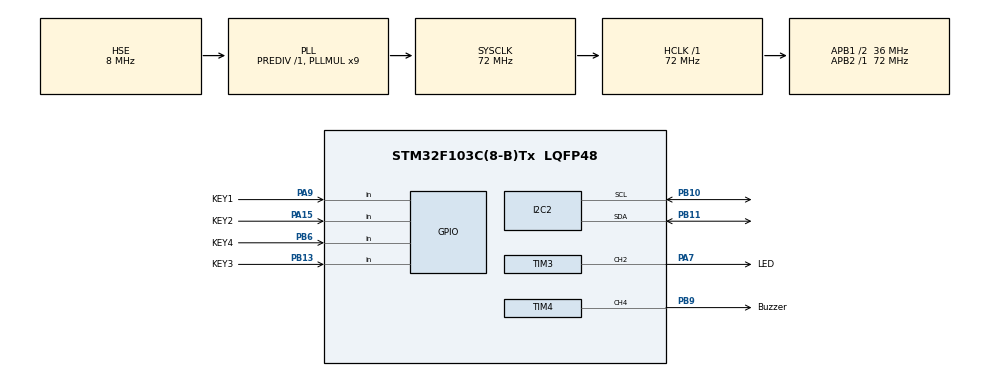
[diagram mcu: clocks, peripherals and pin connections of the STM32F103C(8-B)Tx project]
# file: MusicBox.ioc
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Mcu.Family=STM32F1
Mcu.Name=STM32F103C(8-B)Tx
Mcu.Package=LQFP48
NVIC.PriorityGroup=NVIC_PRIORITYGROUP_4
NVIC.RTC_Alarm_IRQn=true\:0\:0\:false\:false\:true\:true\:true\:true
PA13.Mode=Serial_Wire
PA13.Signal=SYS_JTMS-SWDIO
PA14.Mode=Serial_Wire
PA14.Signal=SYS_JTCK-SWCLK
PA15.GPIO_Label=KEY2
PA15.GPIO_PuPd=GPIO_PULLUP
PA15.Signal=GPIO_Input
PA7.GPIO_Label=LED
PA7.GPIO_Speed=GPIO_SPEED_FREQ_MEDIUM
PA7.Signal=S_TIM3_CH2
PA9.GPIO_Label=KEY1
PA9.GPIO_PuPd=GPIO_PULLUP
PA9.Signal=GPIO_Input
PB10.Mode=I2C
PB10.Signal=I2C2_SCL
PB11.Mode=I2C
PB11.Signal=I2C2_SDA
PB13.GPIO_Label=KEY3
PB13.GPIO_PuPd=GPIO_PULLUP
PB13.Signal=GPIO_Input
PB6.GPIO_Label=KEY4
PB6.GPIO_PuPd=GPIO_PULLUP
PB6.Signal=GPIO_Input
PB9.GPIO_Label=Buzzer
PB9.GPIO_Speed=GPIO_SPEED_FREQ_MEDIUM
PB9.Signal=S_TIM4_CH4
PD0-OSC_IN.Mode=HSE-External-Oscillator
PD0-OSC_IN.Signal=RCC_OSC_IN
PD1-OSC_OUT.Mode=HSE-External-Oscillator
PD1-OSC_OUT.Signal=RCC_OSC_OUT
ProjectManager.HeapSize=0x200
ProjectManager.StackSize=0x400
ProjectManager.TargetToolchain=STM32CubeIDE
RCC.AHBFreq_Value=72000000
RCC.APB1CLKDivider=RCC_HCLK_DIV2
RCC.APB1Freq_Value=36000000
RCC.APB1TimFreq_Value=72000000
RCC.APB2Freq_Value=72000000
RCC.APB2TimFreq_Value=72000000
RCC.HCLKFreq_Value=72000000
RCC.PLLMUL=RCC_PLL_MUL9
RCC.PLLSourceVirtual=RCC_PLLSOURCE_HSE
RCC.SYSCLKFreq_VALUE=72000000
RCC.SYSCLKSource=RCC_SYSCLKSOURCE_PLLCLK
RCC.USBFreq_Value=72000000
SH.S_TIM3_CH2.0=TIM3_CH2,PWM Generation2 CH2
SH.S_TIM4_CH4.0=TIM4_CH4,PWM Generation4 CH4
TIM3.Channel-PWM\ Generation2\ CH2=TIM_CHANNEL_2
TIM3.Period=100-1
TIM3.Prescaler=7200-1
TIM4.Channel-PWM\ Generation4\ CH4=TIM_CHANNEL_4
TIM4.Prescaler=72-1
VP_RTC_VS_RTC_Activate.Mode=RTC_Enabled
VP_TIM3_VS_ClockSourceINT.Mode=Internal
VP_TIM4_VS_ClockSourceINT.Mode=Internal
board=custom

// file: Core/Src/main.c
/* USER CODE BEGIN Header */
/**
  ******************************************************************************
  * @file           : main.c
  * @brief          : Main program body
  ******************************************************************************
  * @attention
  *
  * Copyright (c) 2025 STMicroelectronics.
  * All rights reserved.
  *
  * This software is licensed under terms that can be found in the LICENSE file
  * in the root directory of this software component.
  * If no LICENSE file comes with this software, it is provided AS-IS.
  *
  ******************************************************************************
  */
/* USER CODE END Header */
#include "main.h"
#include "i2c.h"
#include "rtc.h"
#include "tim.h"
#include "gpio.h"

/* USER CODE BEGIN Includes */
#include"stdint.h"
#include "song.h"
#include "font.h"
#include "gpio.h"
#include "i2c.h"
#include "tim.h"
#include "oled.h"
#include "multi_button.h"
#include <stdio.h>
/* USER CODE END Includes */

/* USER CODE BEGIN PV */
typedef enum { STOPPED,PLAYING,PAUSED,MACHINE_STOP} State;
typedef enum {Null_Song, Start_Music, Haruhikage, Blossom, Cheerleader } SongList;
typedef enum { Menu1, Menu2,Volume_Control_Menu, Song_Display_Menu } MenuState;

static Button KEY1;
static Button KEY2;
static Button KEY3;
static Button KEY4;

volatile State PlayerState = STOPPED;
volatile MenuState CurrentMenu;
volatile SongList Selected_Song=Null_Song;
/* USER CODE END PV */

void SystemClock_Config(void);

/* USER CODE BEGIN 0 */

//声明变量
Song *Current_Song_Sheet;			  // 当前播放的歌曲铺
volatile uint32_t Current_Song_Time_Length;	// 当前播放的歌曲时间长度
volatile uint32_t Current_Song_Note_Num;// 当前播放的歌曲的音符数量
volatile uint32_t currentNote=0;   // 当前播放的音符
volatile uint32_t elapsedTime=0;    // 当前音符已经播放的时间
volatile uint32_t current_Play_Time = 0;//当前歌曲播放时间
volatile uint16_t is_Doubled_Playing = 0;//是否快速播放
volatile uint16_t Volume=50;//音量大小
volatile uint16_t is_Move_First_Cursor=0, is_Move_Second_Cursor=0;//是否移动一级光标
volatile uint16_t is_Enter_Secondary_Menu=0,is_Leave_Secondary_Menu=0;//是否进入二级菜单
volatile uint16_t is_Enter_Song=0,is_Leave_Song=0;//是否进入/离开歌曲
volatile uint16_t is_next10s_Playing=0,is_previous10s_Playing=0;//是否快进
volatile uint16_t First_Cursor_Position=7,Second_Cursor_Position=7;

//声明函数
void Player_Start(Song *sheet, uint32_t length, int note_num);
void Player_Pause(void);
void Player_Resume(void);
void Player_Stop(void);
void Player_Update(void);
uint32_t Get_Song_Time_Length(Song sheet[],int note_num);
void HAL_GPIO_EXTI_Callback(uint16_t GPIO_Pin);
//uint8_t read_button_gpio(uint8_t button_id);
void Machine_Start();
void First_Menu();
void Second_Menu();
void Volume_Control();
void Song_Display();

// 播放指定歌曲
void Player_Start(Song *sheet, uint32_t length, int note_num) {
  Current_Song_Sheet = sheet;
  Current_Song_Time_Length = length;
  Current_Song_Note_Num = note_num;
  currentNote = 0;
  elapsedTime = 0;
  current_Play_Time = 0;
  PlayerState = PLAYING;
  return;
}

// 暂停
void Player_Pause(void) {
    PlayerState = PAUSED;
    __HAL_TIM_SET_COMPARE(&htim4, TIM_CHANNEL_4, 0); // 静音
}

// 继续
void Player_Resume(void) {
  if (PlayerState == PAUSED) {
    PlayerState = PLAYING;
  }
}

// 停止
void Player_Stop(void) {
  PlayerState = STOPPED;
  currentNote = 0;
  elapsedTime = 0;
  current_Play_Time = 0;
  __HAL_TIM_SET_COMPARE(&htim4, TIM_CHANNEL_4, 0); // 静音
}

void Set_BPM_Time(int BPM){
	note_time[_1_16]=125*120/BPM;
	note_time[_1_8]=2*note_time[_1_16];
	note_time[_1_4]=2*note_time[_1_8];
	note_time[_1_2]=2*note_time[_1_4];
	note_time[_1_1]=2*note_time[_1_2];
	return;
}

// SysTick 每 1ms 调用一次
void Player_Update(void) {
  if (Current_Song_Sheet == NULL||Selected_Song ==Null_Song) return;

  Song current = Current_Song_Sheet[currentNote];
  uint32_t note_Duration = note_time[current.note_len];

	// 播放音符
	if(current.note_pitch == Rest||PlayerState==PAUSED||PlayerState==STOPPED){
		__HAL_TIM_SET_COMPARE(&htim4, TIM_CHANNEL_4, 0);
	}else{
		__HAL_TIM_SET_AUTORELOAD(&htim4,1000000/note_freqs[current.note_pitch]-1); // 重装载值

		if(0<=elapsedTime&&elapsedTime<100)	__HAL_TIM_SET_COMPARE(&htim4, TIM_CHANNEL_4, (int)1000000 / note_freqs[current.note_pitch]*Volume/5/100); // 占空比
		if(100<=elapsedTime&&elapsedTime<150) __HAL_TIM_SET_COMPARE(&htim4, TIM_CHANNEL_4, (int)5*Volume/100); // 占空比
		if(150<=elapsedTime&&elapsedTime<200) __HAL_TIM_SET_COMPARE(&htim4, TIM_CHANNEL_4, (int)3*Volume/100);
		if(200<=elapsedTime&&elapsedTime<250) __HAL_TIM_SET_COMPARE(&htim4, TIM_CHANNEL_4, (int)1*Volume/100);
		if(elapsedTime>=250) __HAL_TIM_SET_COMPARE(&htim4, TIM_CHANNEL_4, 0);
	}

//倍速播放
  if(is_Doubled_Playing==1 && 0 <= current_Play_Time && current_Play_Time < Current_Song_Time_Length && PlayerState==PLAYING){
    elapsedTime+=2;
    current_Play_Time+=2;
  }else if(is_Doubled_Playing==0 && 0<=current_Play_Time && current_Play_Time < Current_Song_Time_Length && PlayerState==PLAYING){
    elapsedTime+=1;
    current_Play_Time+=1;
  }

  // 快进功能
  //快进 10 秒
  if (is_next10s_Playing == 1) {
      is_next10s_Playing = 0; // 恢复标志

      int tmp_Skip_Note = 0;
      int total_Skip_Note_Time = 0;

      while (1) {
          if (total_Skip_Note_Time < 10000) {
              if (tmp_Skip_Note == 0) {
                  total_Skip_Note_Time += note_Duration - elapsedTime;  // 当前音符剩余时间
              } else {
                  // 若快进越界到结尾，直接到末尾退出
                  if (currentNote + tmp_Skip_Note >= Current_Song_Note_Num||current_Play_Time+total_Skip_Note_Time>=Current_Song_Time_Length) {
                      currentNote = Current_Song_Note_Num - 1;
                      current_Play_Time = Current_Song_Time_Length;
                      elapsedTime = note_Duration;
                      break;
                  } else {
                      total_Skip_Note_Time += note_time[Current_Song_Sheet[currentNote + tmp_Skip_Note].note_len];
                  }
              }
              tmp_Skip_Note++;
          } else {
              // 计算快进到的新位置
              currentNote += tmp_Skip_Note - 1;
              elapsedTime = note_time[Current_Song_Sheet[currentNote].note_len] - (total_Skip_Note_Time - 10000);
              if (Current_Song_Time_Length-current_Play_Time > 10000)
            	  current_Play_Time += 10000;
              else
            	  current_Play_Time = Current_Song_Time_Length;
              break;
          }
      }
  }

  // ==================== 后退 10 秒 ====================
  if (is_previous10s_Playing == 1) {
      is_previous10s_Playing = 0; // 恢复标志

      int tmp_Skip_Note = 0;
      int total_Skip_Note_Time = 0;

      while (1) {
          if (total_Skip_Note_Time < 10000) {
              if (tmp_Skip_Note == 0) {
                  total_Skip_Note_Time += elapsedTime;  // 当前音符已播放部分
              } else {
                  // 若后退越界到开头，直接回到第一个音符
                  if (currentNote - tmp_Skip_Note < 0||(int)current_Play_Time-total_Skip_Note_Time<=0) {
                      currentNote = 0;
                      elapsedTime = 0;
                      current_Play_Time = 0;
                      break;
                  } else {
                      total_Skip_Note_Time += note_time[Current_Song_Sheet[currentNote - tmp_Skip_Note].note_len];
                  }
              }
              tmp_Skip_Note++;
          } else {
              // 计算后退到的新位置
              currentNote -=(tmp_Skip_Note - 1);
              elapsedTime =total_Skip_Note_Time - 10000;
              if (current_Play_Time > 10000)
                  current_Play_Time -= 10000;
              else
                  current_Play_Time = 0;
              break;
          }
      }
  }

  // 音符播放完毕，切换到下一个音符
  if (elapsedTime >= note_Duration) {
	elapsedTime = 0;
	currentNote++;
  }

  //歌曲播放结束,重新开始
  if (currentNote >= Current_Song_Note_Num&&Selected_Song!=Start_Music) {
	  elapsedTime =0;
	  currentNote=0;
	  current_Play_Time=0;
      return;
    }
  if (currentNote >= Current_Song_Note_Num&&Selected_Song==Start_Music) {
  	  Player_Stop();
  	  return;
  }
}

//获取歌曲时长
uint32_t Get_Song_Time_Length(Song sheet[],int note_num){

	int Total_Song_Time_Length=0;

	for(int i=0;i<note_num;i++){
		Total_Song_Time_Length+=note_time[sheet[i].note_len];
	}
	return Total_Song_Time_Length;
}

//按键功能
void KEY1_single_click_handler(){

  if(CurrentMenu==Song_Display_Menu){
      if(PlayerState==PLAYING){
        Player_Pause();
      }else if(PlayerState==PAUSED){
        Player_Resume();
      }
    }
}

void KEY1_double_click_handler(){
  if(CurrentMenu==Song_Display_Menu){
      Player_Start(Current_Song_Sheet, Current_Song_Time_Length, Current_Song_Note_Num);
    }

}
void KEY1_long_press_Start_handler(){
	if(Selected_Song==Haruhikage&&CurrentMenu==Song_Display_Menu){
		Selected_Song=Blossom;
		Set_BPM_Time(Blossom_BPM);
		Player_Start((Song*)Blossom_Sheet, Get_Song_Time_Length(Blossom_Sheet,Blossom_Note_Num),Blossom_Note_Num);
	}
	if(Selected_Song==Blossom&&CurrentMenu==Song_Display_Menu){
		Selected_Song=Cheerleader;
		Set_BPM_Time(Cheerleader_BPM);
	    Player_Start((Song*)Cheerleader_Sheet, Get_Song_Time_Length(Cheerleader_Sheet,Cheerleader_Note_Num),Cheerleader_Note_Num);
	}
	if(Selected_Song==Cheerleader&&CurrentMenu==Song_Display_Menu){
	    Selected_Song=Haruhikage;
	    Set_BPM_Time(Haruhikage_BPM);
		Player_Start((Song*)Haruhikage_Sheet, Get_Song_Time_Length(Haruhikage_Sheet,Haruhikage_Note_Num),Haruhikage_Note_Num);
	}

}
void KEY2_single_click_handler(){
	if(CurrentMenu==Song_Display_Menu){
		is_previous10s_Playing=1;

	}
	if(CurrentMenu==Volume_Control_Menu){
		if(Volume-10>=0) Volume-=10;
		if(Volume-10<0) Volume=0;
	}
}

void KEY2_double_click_handler(){
	if(CurrentMenu==Song_Display_Menu||CurrentMenu==Volume_Control_Menu){
	    if(Volume-10>=0) Volume-=10;
	    if(Volume-10<0) Volume=0;
	  }
}

void KEY2_long_press_start_handler(){

}

void KEY3_single_click_handler(){
	if(CurrentMenu==Song_Display_Menu){
	    is_next10s_Playing=1;
	}
	if(CurrentMenu==Volume_Control_Menu){
		if(Volume+10<=100) Volume+=10;
		if(Volume+10>100) Volume=100;
	}
}

void KEY3_double_click_handler(){
	if(CurrentMenu==Song_Display_Menu||CurrentMenu==Volume_Control_Menu){
	    if(Volume+10<=100) Volume+=10;
	    if(Volume+10>100) Volume=100;
	}
}

void KEY3_long_press_hold_handler(){
  if(CurrentMenu==Song_Display_Menu){
    is_Doubled_Playing=1;
  }
}

void KEY3_release_handler() {
	if (CurrentMenu == Song_Display_Menu) {
	   if(is_Doubled_Playing ==1) is_Doubled_Playing = 0;  // 松开 -> 恢复正常播放
    }
}

void KEY4_single_click_handler(){
	if(CurrentMenu==Menu1){
		  if(First_Cursor_Position>=27){
		  	 First_Cursor_Position=7;
		  }else{
			  First_Cursor_Position+=20;
		  }
	  }
	  if(CurrentMenu==Menu2){
		  if(Second_Cursor_Position>=47){
			  Second_Cursor_Position=7;
		  }else{
		      Second_Cursor_Position+=20;
		  }
	  }

}
void KEY4_double_click_handler(){
	if(CurrentMenu==Menu2||CurrentMenu==Volume_Control_Menu){
		is_Leave_Secondary_Menu=1;
	}
	if(CurrentMenu==Song_Display_Menu){
		is_Leave_Song=1;
	}
}

void KEY4_long_press_start_handler(){
	if(CurrentMenu==Menu1){
		is_Enter_Secondary_Menu=1;
	}
	if(CurrentMenu==Menu2){
		is_Enter_Song=1;
	}
}

uint8_t read_button_gpio(uint8_t button_id)
{
    switch (button_id) {
        case 1:
            return HAL_GPIO_ReadPin(KEY1_GPIO_Port, KEY1_Pin);
        case 2:
        	return HAL_GPIO_ReadPin(KEY2_GPIO_Port, KEY2_Pin);
        case 3:
            return HAL_GPIO_ReadPin(KEY3_GPIO_Port, KEY3_Pin);
        case 4:
            return HAL_GPIO_ReadPin(KEY4_GPIO_Port, KEY4_Pin);
        default:
            return 0;
    }
}

void Machine_Start(){
  //呼吸灯
  for(int i=0;i<50;i++){
    __HAL_TIM_SET_COMPARE(&htim3,TIM_CHANNEL_2,i);
    HAL_Delay(10);
  }
  for(int i=49;i>=0;i--)	{
    __HAL_TIM_SET_COMPARE(&htim3,TIM_CHANNEL_2,i);
    HAL_Delay(10);
  }
  for(int i=0;i<50;i++){
    __HAL_TIM_SET_COMPARE(&htim3,TIM_CHANNEL_2,i);
    HAL_Delay(10);
  }
  for(int i=49;i>=0;i--){
    __HAL_TIM_SET_COMPARE(&htim3,TIM_CHANNEL_2,i);
    HAL_Delay(10);
  }
  for(int i=0;i<50;i++){
    __HAL_TIM_SET_COMPARE(&htim3,TIM_CHANNEL_2,i);
    HAL_Delay(10);
  }
  for(int i=49;i>=0;i--){
    __HAL_TIM_SET_COMPARE(&htim3,TIM_CHANNEL_2,i);
    HAL_Delay(10);
  }

  //播放开场音乐
  Selected_Song=Start_Music;
  Set_BPM_Time(Start_Music_BPM);
  Player_Start((Song*)Start_Music_Sheet, Get_Song_Time_Length(Start_Music_Sheet,Start_Music_Note_Num), Start_Music_Note_Num);
  //开场动画
  for(int i=0;i<40;i++){
	  OLED_NewFrame();
      OLED_DrawCircle(64,32,i,OLED_COLOR_NORMAL);
      OLED_DrawCircle(64,32,i*3,OLED_COLOR_NORMAL);
      OLED_DrawImage(43,-30+i,&UESTCImg,OLED_COLOR_NORMAL);
      OLED_PrintString(64-1*i,42,"Welcome!",&font16x16,OLED_COLOR_NORMAL);
      OLED_ShowFrame();
      HAL_Delay(70);
  }
  CurrentMenu=Menu1;
  return;
 }

//一级菜单
void First_Menu(){

	  OLED_NewFrame();
    //绘制LIST
	  OLED_DrawFilledRectangle(0,0,60,15,0);
	  OLED_PrintString(3,0,"LIST",&font13x13,1);
    //绘制CONTROL
	  OLED_DrawFilledRectangle(0,20,60,15,0);
	  OLED_PrintString(3,20,"CONTROL",&font15x15,1);
    //绘制光标
	  OLED_DrawLine(115,First_Cursor_Position,120,First_Cursor_Position,0);
	  OLED_DrawLine(115,First_Cursor_Position+1,120,First_Cursor_Position+1,0);
	  OLED_DrawLine(115,First_Cursor_Position+2,120,First_Cursor_Position+2,0);

	  OLED_ShowFrame();

    if(is_Enter_Secondary_Menu==1&&First_Cursor_Position==7){
      CurrentMenu=Menu2;
      Second_Cursor_Position=7;
      is_Enter_Secondary_Menu=0;
	}

    if(is_Enter_Secondary_Menu==1&&First_Cursor_Position==27){
          CurrentMenu=Volume_Control_Menu;
          is_Enter_Secondary_Menu=0;
    }

    return;
}

//二级菜单
void Second_Menu(){

    OLED_NewFrame();
    //第一首歌
    OLED_DrawFilledRectangle(0,0,80,15,0);
    OLED_PrintString(3,0,"1 Haruhikage",&font13x13,1);
    //第二首歌
    OLED_DrawFilledRectangle(0,20,80,15,0);
    OLED_PrintString(3,20,"2 Blossom",&font13x13,1);
    //第三首歌
    OLED_DrawFilledRectangle(0,40,80,15,0);
    OLED_PrintString(3,40,"3 Cheerleader",&font13x13,1);
    //绘制光标
    OLED_DrawLine(115,Second_Cursor_Position,120,Second_Cursor_Position,0);
    OLED_DrawLine(115,Second_Cursor_Position+1,120,Second_Cursor_Position+1,0);
    OLED_DrawLine(115,Second_Cursor_Position+2,120,Second_Cursor_Position+2,0);

   	OLED_ShowFrame();
    //进入歌曲播放界面
    if(is_Enter_Song==1&&Second_Cursor_Position==7){
      CurrentMenu=Song_Display_Menu;
      Selected_Song=Haruhikage;
      Set_BPM_Time(Haruhikage_BPM);
      Player_Start((Song*)Haruhikage_Sheet, Get_Song_Time_Length(Haruhikage_Sheet,Haruhikage_Note_Num),Haruhikage_Note_Num);
      is_Enter_Song=0;
    }
    if(is_Enter_Song==1&&Second_Cursor_Position==27){
      CurrentMenu=Song_Display_Menu;
      Selected_Song=Blossom;
      Set_BPM_Time(Blossom_BPM);
      Player_Start((Song*)Blossom_Sheet, Get_Song_Time_Length(Blossom_Sheet,Blossom_Note_Num),Blossom_Note_Num);
      is_Enter_Song=0;
    }
    if(is_Enter_Song==1&&Second_Cursor_Position==47){
      CurrentMenu=Song_Display_Menu;
      Selected_Song=Cheerleader;
      Set_BPM_Time(Cheerleader_BPM);
      Player_Start((Song*)Cheerleader_Sheet, Get_Song_Time_Length(Cheerleader_Sheet,Cheerleader_Note_Num),Cheerleader_Note_Num);
      is_Enter_Song=0;
    }
    //返回一级菜单(长按KEY1)
    if(is_Leave_Secondary_Menu==1){
      HAL_Delay(50);
      CurrentMenu=Menu1;
      is_Leave_Secondary_Menu=0;
    }
  return;
}

void Volume_Control(){
	//显示音量大小
	OLED_NewFrame();
	OLED_DrawRectangle(60, 10, 10, 50, OLED_COLOR_NORMAL);
	OLED_DrawFilledRectangle(62, (int)(12+(100-Volume)*46/100), 6, (int)Volume*46/100, OLED_COLOR_NORMAL);//height:12px-48px--->filled height:volume/100*36
	OLED_ShowFrame();
	if(is_Leave_Secondary_Menu==1){
		HAL_Delay(50);
	    CurrentMenu=Menu1;
	    is_Leave_Secondary_Menu=0;
	}

}
//显示歌曲信息
void Song_Display(){
	 OLED_NewFrame();
    //显示歌曲名称
    if(Selected_Song==Haruhikage){
      OLED_PrintString(5,0,"Haruhikage",&font13x13,0);
    }
    if(Selected_Song==Blossom){
      OLED_PrintString(5,0,"Blossom",&font13x13,0);
    }
    if(Selected_Song==Cheerleader){
      OLED_PrintString(5,0,"Cheerleader",&font13x13,0);
    }

    //显示进度条
    int FilledWidth= current_Play_Time*1.0/Current_Song_Time_Length*108;
    OLED_DrawRectangle(7,54,112,6,OLED_COLOR_NORMAL);
    OLED_DrawFilledRectangle(9,56,FilledWidth,4,OLED_COLOR_NORMAL);
    //显示音量大小
    OLED_DrawRectangle(100, 10, 10, 40, OLED_COLOR_NORMAL);
    OLED_DrawFilledRectangle(102, (int)(12+(100-Volume)*36/100), 6, (int)Volume*36/100, OLED_COLOR_NORMAL);//height:12px-48px--->filled height:volume/100*36
    OLED_ShowFrame();

	//短按 KEY2 返回上一级菜单
	if(is_Leave_Song==1){
      Player_Stop();
      is_Leave_Song=0;
      CurrentMenu=Menu2;
      return;
	}
  return;
}

void timer_5ms_interrupt_handler(void)
{
    button_ticks();

}
/* USER CODE END 0 */

int main(void)
{

  /* MCU Configuration--------------------------------------------------------*/

  /* Reset of all peripherals, Initializes the Flash interface and the Systick. */
  HAL_Init();

  /* Configure the system clock */
  SystemClock_Config();

  /* Initialize all configured peripherals */
  MX_GPIO_Init();
  MX_RTC_Init();
  MX_TIM3_Init();
  MX_I2C2_Init();
  MX_TIM4_Init();
  /* USER CODE BEGIN 2 */
  OLED_Init();
  HAL_TIM_PWM_Start(&htim3,TIM_CHANNEL_2);
  HAL_TIM_PWM_Start(&htim4,TIM_CHANNEL_4);
  //按键初始化

  button_init(&KEY1, read_button_gpio, 0, 1);
  button_attach(&KEY1, BTN_SINGLE_CLICK, KEY1_single_click_handler);
  button_attach(&KEY1, BTN_DOUBLE_CLICK, KEY1_double_click_handler);
  button_attach(&KEY1,BTN_LONG_PRESS_START,KEY1_long_press_Start_handler);

  button_init(&KEY2, read_button_gpio, 0, 2);
  button_attach(&KEY2, BTN_SINGLE_CLICK, KEY2_single_click_handler);
  button_attach(&KEY2,BTN_DOUBLE_CLICK,KEY2_double_click_handler);
  button_attach(&KEY2, BTN_LONG_PRESS_START, KEY2_long_press_start_handler);

  button_init(&KEY3, read_button_gpio, 0, 3);
  button_attach(&KEY3, BTN_SINGLE_CLICK, KEY3_single_click_handler);
  button_attach(&KEY3, BTN_DOUBLE_CLICK, KEY3_double_click_handler);
  button_attach(&KEY3, BTN_LONG_PRESS_HOLD, KEY3_long_press_hold_handler);
  button_attach(&KEY3, BTN_PRESS_UP, KEY3_release_handler);

  button_init(&KEY4, read_button_gpio, 0, 4);
  button_attach(&KEY4, BTN_SINGLE_CLICK, KEY4_single_click_handler);
  button_attach(&KEY4, BTN_DOUBLE_CLICK, KEY4_double_click_handler);
  button_attach(&KEY4,BTN_LONG_PRESS_START, KEY4_long_press_start_handler);

  button_start(&KEY1);
  button_start(&KEY2);
  button_start(&KEY3);
  button_start(&KEY4);

  Machine_Start();

  /* USER CODE END 2 */

  /* Infinite loop */
  /* USER CODE BEGIN WHILE */
  while(1){
	  //ButtonEvent debug_btnstate = button_get_event(&KEY1);
	  if(CurrentMenu==Menu1){
	       First_Menu();
	     }
	     if(CurrentMenu==Menu2){
	       Second_Menu();
	     }
	     if(CurrentMenu==Volume_Control_Menu){
	    	Volume_Control();
	     }
	     if(CurrentMenu==Song_Display_Menu){
	       Song_Display();
	     }
    /* USER CODE END WHILE */

  }
}

void SystemClock_Config(void)
{
  RCC_OscInitTypeDef RCC_OscInitStruct = {0};
  RCC_ClkInitTypeDef RCC_ClkInitStruct = {0};
  RCC_PeriphCLKInitTypeDef PeriphClkInit = {0};

  /** Initializes the RCC Oscillators according to the specified parameters
  * in the RCC_OscInitTypeDef structure.
  */
  RCC_OscInitStruct.OscillatorType = RCC_OSCILLATORTYPE_LSI|RCC_OSCILLATORTYPE_HSE;
  RCC_OscInitStruct.HSEState = RCC_HSE_ON;
  RCC_OscInitStruct.HSEPredivValue = RCC_HSE_PREDIV_DIV1;
  RCC_OscInitStruct.HSIState = RCC_HSI_ON;
  RCC_OscInitStruct.LSIState = RCC_LSI_ON;
  RCC_OscInitStruct.PLL.PLLState = RCC_PLL_ON;
  RCC_OscInitStruct.PLL.PLLSource = RCC_PLLSOURCE_HSE;
  RCC_OscInitStruct.PLL.PLLMUL = RCC_PLL_MUL9;
  if (HAL_RCC_OscConfig(&RCC_OscInitStruct) != HAL_OK)
  {
    Error_Handler();
  }

  /** Initializes the CPU, AHB and APB buses clocks
  */
  RCC_ClkInitStruct.ClockType = RCC_CLOCKTYPE_HCLK|RCC_CLOCKTYPE_SYSCLK
                              |RCC_CLOCKTYPE_PCLK1|RCC_CLOCKTYPE_PCLK2;
  RCC_ClkInitStruct.SYSCLKSource = RCC_SYSCLKSOURCE_PLLCLK;
  RCC_ClkInitStruct.AHBCLKDivider = RCC_SYSCLK_DIV1;
  RCC_ClkInitStruct.APB1CLKDivider = RCC_HCLK_DIV2;
  RCC_ClkInitStruct.APB2CLKDivider = RCC_HCLK_DIV1;

  if (HAL_RCC_ClockConfig(&RCC_ClkInitStruct, FLASH_LATENCY_2) != HAL_OK)
  {
    Error_Handler();
  }
  PeriphClkInit.PeriphClockSelection = RCC_PERIPHCLK_RTC;
  PeriphClkInit.RTCClockSelection = RCC_RTCCLKSOURCE_LSI;
  if (HAL_RCCEx_PeriphCLKConfig(&PeriphClkInit) != HAL_OK)
  {
    Error_Handler();
  }
}

void Error_Handler(void)
{
  __disable_irq();
  while (1)
  {
  }
}
